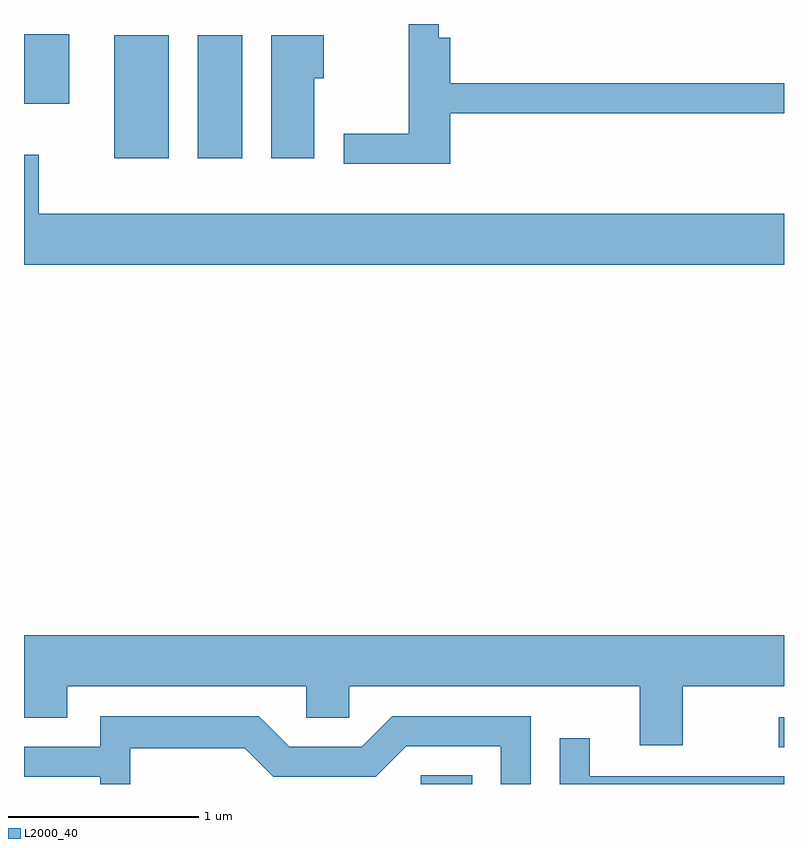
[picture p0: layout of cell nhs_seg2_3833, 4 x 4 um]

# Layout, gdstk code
import gdstk
lib = gdstk.Library(unit=1e-6, precision=1e-09)
def R(c, l, rs):  # rectangles x0, y0, x1, y1
    for r in rs: c.add(gdstk.rectangle(r[:2], r[2:], *l))
def P(c, l, *ps):  # polygons
    for p in ps: c.add(gdstk.Polygon(p, *l))
L2000_40 = (2000, 40)

nhs_seg2_3833 = lib.new_cell('nhs_seg2_3833')
R(nhs_seg2_3833, L2000_40, [(299.698,1047.802,299.969,1047.849), (301.583,1047.996,301.611,1048.154), (298.086,1051.096,298.374,1051.744), (298.526,1051.096,298.759,1051.744), (297.611,1051.381,297.849,1051.749)])
P(nhs_seg2_3833, L2000_40, [(299.854,1051.331),(301.611,1051.331),(301.611,1051.489),(299.854,1051.489),(299.854,1051.729),(299.794,1051.729),(299.794,1051.802),(299.636,1051.802),(299.636,1051.224),(299.293,1051.224),(299.293,1051.066),(299.854,1051.066)],
  [(299.139,1051.516),(299.189,1051.516),(299.189,1051.744),(298.911,1051.744),(298.911,1051.096),(299.139,1051.096)],
  [(301.611,1050.804),(297.689,1050.804),(297.689,1051.114),(297.611,1051.114),(297.611,1050.536),(301.611,1050.536)],
  [(297.611,1048.151),(297.839,1048.151),(297.839,1048.316),(299.096,1048.316),(299.096,1048.151),(299.324,1048.151),(299.324,1048.316),(300.851,1048.316),(300.851,1048.006),(301.079,1048.006),(301.079,1048.316),(301.611,1048.316),(301.611,1048.584),(297.611,1048.584)],
  [(298.169,1047.991),(298.774,1047.991),(298.924,1047.841),(299.462,1047.841),(299.622,1048.001),(300.121,1048.001),(300.121,1047.802),(300.279,1047.802),(300.279,1048.159),(299.549,1048.159),(299.389,1047.999),(299.007,1047.999),(298.847,1048.159),(298.011,1048.159),(298.011,1047.999),(297.611,1047.999),(297.611,1047.841),(298.011,1047.841),(298.011,1047.802),(298.169,1047.802)],
  [(301.611,1047.844),(300.589,1047.844),(300.589,1048.043),(300.431,1048.043),(300.431,1047.802),(301.611,1047.802)])

lib.write_gds('nhs_seg2_3833.gds')
